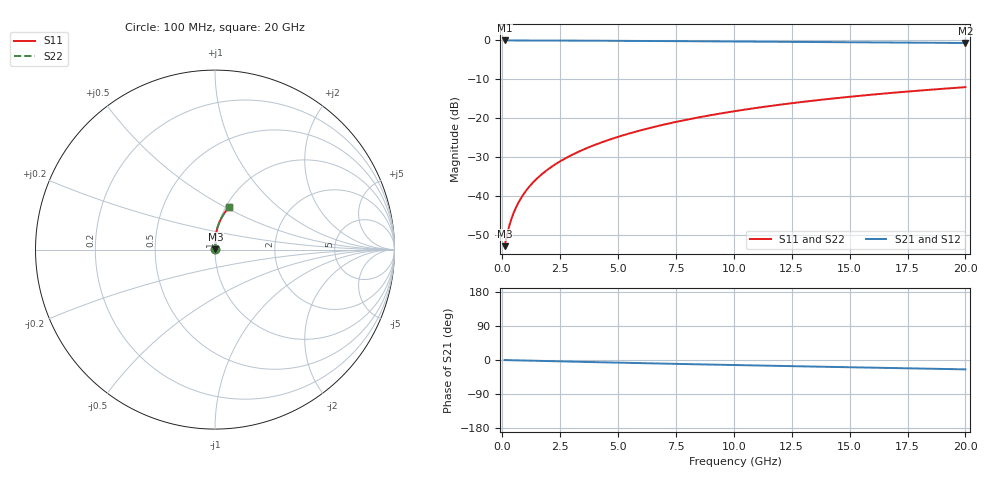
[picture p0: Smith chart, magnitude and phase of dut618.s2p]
! Touchstone file exported from HFSS 2024.1.0
!  File:  C:/UserFiles/LocalFiles/RDL_TSV_Batchsim/temp_RDL_top_618_1779780075.aedt
!  Generated:  03:23:36 PM May 26, 2026
!  Design:  RDL_top
!  Project:  temp_RDL_top_618_1779780075
!  Setup:  Setup1
!  Solution:  Sweep
! Variables:
!  dtsv = 10.80580581um
!  hbump = 3um
!  htsv = 87.33um
!  ldown = 100um
!  lrdl = 320.66um
!  p = 40
!  p1 = 50.2um
!  rhole = 1um
!  t = 450um
!  tdown = 3.915915916um
!  trdl = 2.99um
!  wdown = 15.38538539um
!  wrdl = 23.08um
# GHz S MA R 50.000000
! Terminal data exported
! Port[1] = Box2_T1
! Port[2] = Box2_T2
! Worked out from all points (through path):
!   200 points, 100 MHz to 20 GHz, reference 50 ohm
!   highest |S21| = -0.02 dB at 100 MHz (marker M1); lowest = -0.7 dB at 20 GHz (marker M2)
!   group delay of S21, straight-line fit = 3.4 ps
!   lowest |S11| = -52.9 dB at 100 MHz (marker M3), VSWR 1.00, Z = 50.2 + j0.122 ohm
!   |S11| at or under -10 dB: start of sweep to end of sweep
!   |S22| runs from -52.9 to -12.0 dB; largest |S21 - S12| = 3.5e-15
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0.1  0.002263 32.6  0.9981 -0.2  0.9981 -0.2  0.002263 32.6
! Gamma 0 0 0 0
! Port Impedance 50 0 50 0
0.2  0.003114 50.6  0.998 -0.3  0.998 -0.3  0.003114 50.6
0.3  0.004103 59.8  0.9979 -0.4  0.9979 -0.4  0.004103 59.8
0.4  0.005125 65.3  0.9978 -0.6  0.9978 -0.6  0.005125 65.3
0.5  0.006154 69.1  0.9977 -0.7  0.9977 -0.7  0.006154 69.1
0.6  0.007188 71.8  0.9976 -0.9  0.9976 -0.9  0.007188 71.8
0.8  0.009275 75.7  0.9974 -1.2  0.9974 -1.2  0.009275 75.7
1.1  0.01246 79.3  0.997 -1.6  0.997 -1.6  0.01246 79.3
1.3  0.0146 80.9  0.9968 -1.9  0.9968 -1.9  0.0146 80.9
1.6  0.01787 82.6  0.9964 -2.3  0.9964 -2.3  0.01787 82.6
2.1  0.02339 84.5  0.9955 -3.0  0.9955 -3.0  0.02339 84.5
2.7  0.03017 85.9  0.9943 -3.9  0.9943 -3.9  0.03017 85.8
3.5  0.03944 86.8  0.9922 -5.0  0.9922 -5.0  0.03944 86.8
4.2  0.04779 87.2  0.9901 -5.9  0.9901 -5.9  0.04778 87.2
5  0.05757 87.3  0.9875 -7.0  0.9875 -7.0  0.05756 87.3
5.9  0.06886 87.1  0.9842 -8.2  0.9842 -8.2  0.06885 87.1
6.8  0.0804 86.6  0.9808 -9.3  0.9808 -9.3  0.08039 86.6
8.4  0.1013 85.4  0.9744 -11.3  0.9744 -11.3  0.1013 85.3
10.1  0.1239 83.6  0.9675 -13.4  0.9675 -13.4  0.1239 83.6
13.4  0.1676 79.6  0.9539 -17.3  0.9539 -17.3  0.1676 79.6
16.7  0.21 75.5  0.9402 -21.1  0.9402 -21.1  0.21 75.5
20  0.2506 71.4  0.9262 -24.7  0.9262 -24.7  0.2505 71.4
